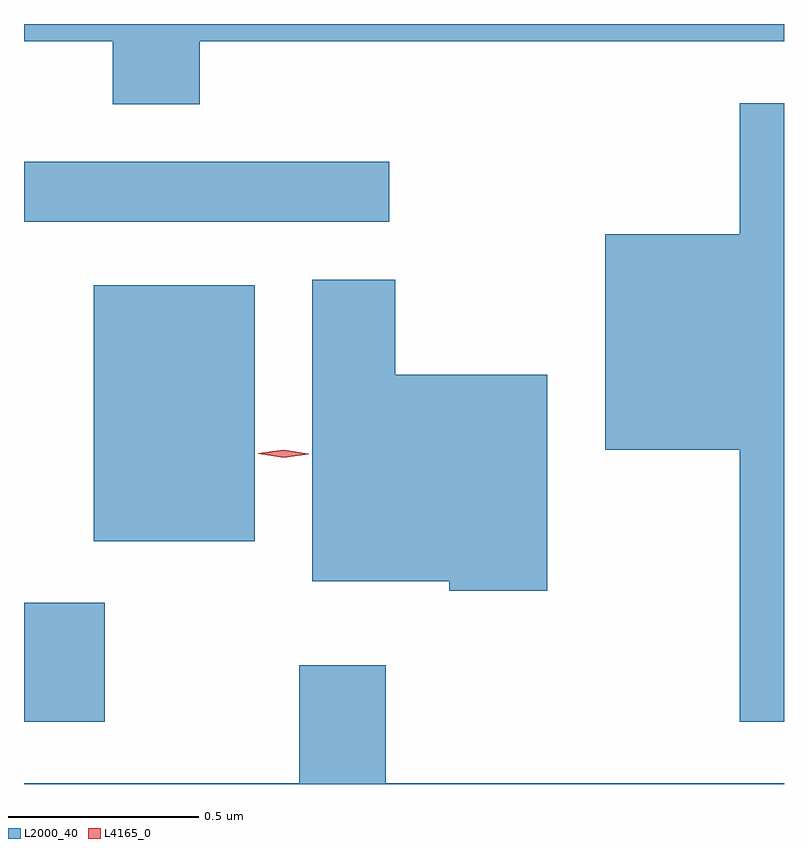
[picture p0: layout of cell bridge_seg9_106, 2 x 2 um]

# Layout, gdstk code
import gdstk
lib = gdstk.Library(unit=1e-6, precision=1e-09)
def R(c, l, rs):  # rectangles x0, y0, x1, y1
    for r in rs: c.add(gdstk.rectangle(r[:2], r[2:], *l))
def P(c, l, *ps):  # polygons
    for p in ps: c.add(gdstk.Polygon(p, *l))
L2000_40 = (2000, 40)
L4165_0 = (4165, 0)

bridge_seg9_106 = lib.new_cell('bridge_seg9_106')
R(bridge_seg9_106, L2000_40, [(1733.367,2012.226,1733.579,2012.539), (1733.551,2012.701,1733.974,2013.374), (1733.367,2013.541,1734.328,2013.699)])
P(bridge_seg9_106, L2000_40, [(1733.829,2014.016),(1735.367,2014.016),(1735.367,2014.062),(1733.367,2014.062),(1733.367,2014.016),(1733.601,2014.016),(1733.601,2013.851),(1733.829,2013.851)],
  [(1735.367,2013.854),(1735.251,2013.854),(1735.251,2013.509),(1734.896,2013.509),(1734.896,2012.941),(1735.251,2012.941),(1735.251,2012.226),(1735.367,2012.226)],
  [(1734.744,2013.139),(1734.344,2013.139),(1734.344,2013.389),(1734.126,2013.389),(1734.126,2012.596),(1734.486,2012.596),(1734.486,2012.571),(1734.744,2012.571)],
  [(1735.367,2012.064),(1734.319,2012.064),(1734.319,2012.374),(1734.091,2012.374),(1734.091,2012.064),(1733.367,2012.064),(1733.367,2012.062),(1735.367,2012.062)])
P(bridge_seg9_106, L4165_0, [(1734.05,2012.921),(1733.984,2012.931),(1733.983,2012.931),(1733.984,2012.932),(1734.05,2012.941),(1734.116,2012.931),(1734.116,2012.93),(1734.116,2012.93)])

lib.write_gds('bridge_seg9_106.gds')
